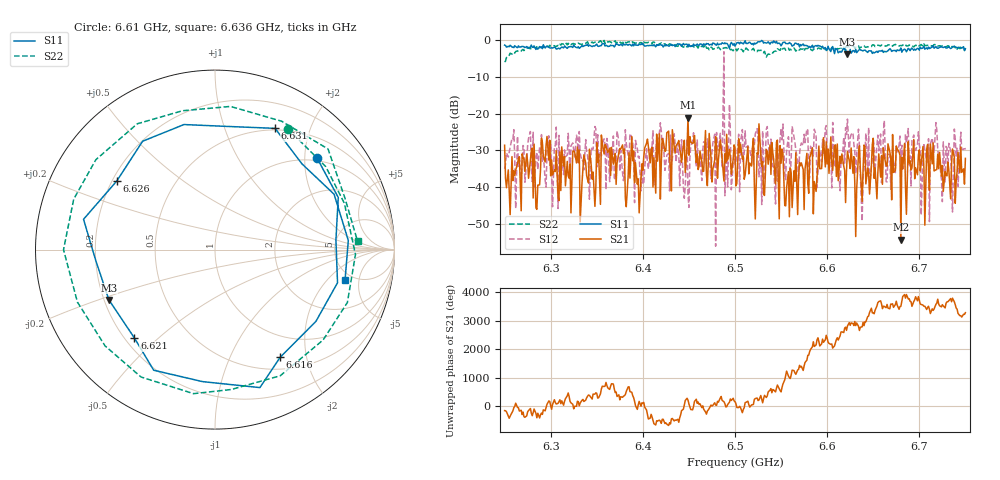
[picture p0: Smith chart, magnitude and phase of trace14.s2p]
# Hz S RI R 50
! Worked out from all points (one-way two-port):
!   401 points, 6.25 GHz to 6.75 GHz, reference 50 ohm
!   highest |S21| = -21.04 dB at 6.449 GHz (marker M1); lowest = -54.3 dB at 6.68 GHz (marker M2)
!   lowest |S11| = -3.7 dB at 6.622 GHz (marker M3), VSWR 4.78, Z = 11 - j10.7 ohm
!   |S11| at or under -10 dB: nowhere
!   |S22| runs from -5.9 to 0.0 dB; largest |S21 - S12| = 0.69
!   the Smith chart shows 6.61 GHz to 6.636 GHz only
!   S11 on the Smith chart (normalised r, x): 6.61 GHz: 0.93, +2.28; 6.616 GHz: 0.66, -1.57; 6.621 GHz: 0.24, -0.42; 6.626 GHz: 0.22, +0.30; 6.631 GHz: 0.48, +1.50; 6.636 GHz: 4.31, -3.22
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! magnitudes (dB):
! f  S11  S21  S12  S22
! 6.25 GHz  -1.3  -28.6  -35.0  -5.9
! 6.334 GHz  -1.4  -38.8  -32.9  -1.1
! 6.388 GHz  -1.5  -26.2  -26.4  -0.1
! 6.4 GHz  -0.8  -35.4  -39.2  -1.2
! 6.418 GHz  -1.3  -25.5  -25.2  -0.9
! 6.449 GHz  -1.7  -21.0  -42.1  -1.3
! 6.454 GHz  -1.5  -28.1  -27.6  -1.4
! 6.476 GHz  -0.7  -35.0  -27.9  -2.4
! 6.485 GHz  -1.0  -29.4  -29.6  -2.7
! 6.5 GHz  -1.6  -29.2  -33.8  -2.1
! 6.556 GHz  -0.9  -40.1  -30.0  -2.4
! 6.584 GHz  -1.3  -29.3  -29.7  -2.8
! 6.61 GHz  -2.3  -37.1  -30.8  -2.1
! 6.616 GHz  -3.1  -30.9  -33.5  -2.1
! 6.621 GHz  -3.5  -35.5  -25.6  -1.7
! 6.622 GHz  -3.7  -30.3  -21.5  -1.8
! 6.626 GHz  -3.5  -29.3  -25.6  -1.6
! 6.631 GHz  -2.5  -53.5  -36.3  -1.9
! 6.636 GHz  -2.6  -35.2  -36.7  -2.0
! 6.668 GHz  -2.3  -30.4  -31.2  -1.3
! 6.68 GHz  -2.1  -54.3  -35.1  -1.4
! 6.75 GHz  -2.3  -32.2  -29.8  -2.5
